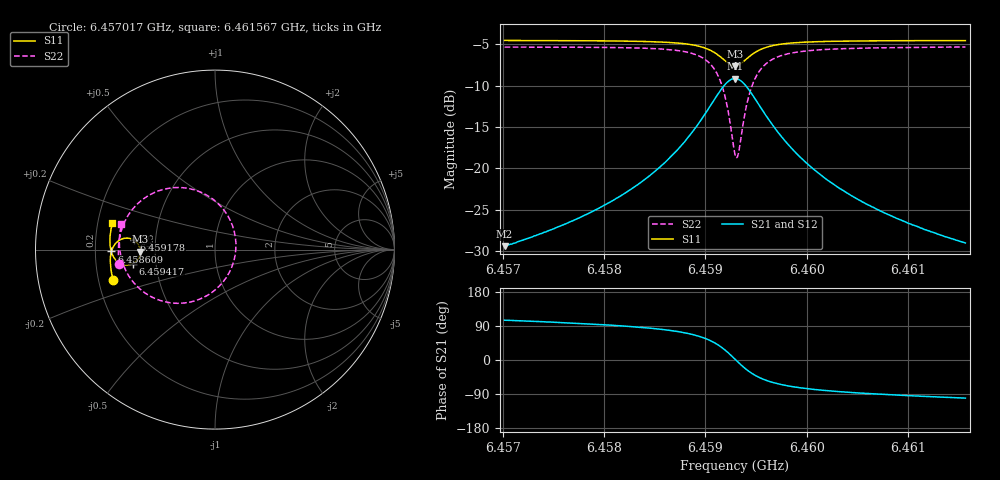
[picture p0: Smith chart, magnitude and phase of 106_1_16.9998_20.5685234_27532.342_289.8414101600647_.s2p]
#  HZ  S  RI  R  50.00
! Rohde & Schwarz Vector Network Analyzer
! Rohde-Schwarz,ZNB20-2Port,1311601062101988,3.16
! Created: UTC 3/20/2024, 10:56:50 PM
! freq[Hz]  re:S11  im:S11  re:S21  im:S21  re:S12  im:S12  re:S22  im:S22
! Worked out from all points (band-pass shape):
!   401 points, 6.457017 GHz to 6.461567 GHz, reference 50 ohm
!   highest |S21| = -9.15 dB at 6.459292 GHz (marker M1); lowest = -29.4 dB at 6.457017 GHz (marker M2)
!   |S21| within 3 dB of the highest: 6.459064 GHz to 6.459519 GHz (455.1 kHz wide, 0.00705 % of centre)
!   lowest |S11| = -7.6 dB at 6.459292 GHz (marker M3), VSWR 2.42, Z = 20.6 - j0.548 ohm
!   |S11| at or under -10 dB: nowhere
!   |S22| runs from -18.7 to -5.3 dB; largest |S21 - S12| = 0.014
!   S11 on the Smith chart (normalised r, x): 6.457017 GHz: 0.26, -0.14; 6.458609 GHz: 0.27, -0.01; 6.459178 GHz: 0.38, +0.05; 6.459417 GHz: 0.37, -0.07; 6.461567 GHz: 0.26, +0.12
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6.4570167e9  -0.5668 -0.1705  -0.00876 0.0328  -0.00705 0.0327  -0.5336 -0.0809
6.4577789e9  -0.5806 -0.1037  -0.00551 0.0509  -0.003 0.0503  -0.5384 0.0091
6.4581771e9  -0.5835 -0.0637  8.74e-05 0.0691  0.00325 0.0678  -0.5305 0.0722
6.4585411e9  -0.5794 -0.02  0.0146 0.0997  0.0186 0.0969  -0.5038 0.1541
6.4586094e9  -0.5772 -0.0105  0.02 0.1081  0.0241 0.105  -0.4935 0.1742
6.4588028e9  -0.5644 0.0199  0.0469 0.1393  0.051 0.1344  -0.4431 0.2434
6.4589507e9  -0.5414 0.0462  0.0928 0.1702  0.0958 0.1633  -0.3585 0.3078
6.4590872e9  -0.4969 0.0638  0.1808 0.1864  0.1818 0.1792  -0.1977 0.3458
6.4591782e9  -0.4518 0.0531  0.2717 0.1546  0.272 0.1487  -0.03 0.2937
6.4592465e9  -0.4224 0.0206  0.3325 0.0817  0.3347 0.0764  0.0854 0.1622
6.459292e9  -0.4156 -0.011  0.3487 0.013  0.3525 0.00596  0.1167 0.0339
6.4593034e9  -0.4161 -0.0191  0.3484 -0.00502  0.3523 -0.0126  0.1159 0.000121
6.4593261e9  -0.4196 -0.0349  0.3425 -0.0399  0.3465 -0.0491  0.1043 -0.066
6.4593716e9  -0.4356 -0.0614  0.3134 -0.1003  0.3156 -0.1122  0.0453 -0.1796
6.4594171e9  -0.4579 -0.0779  0.2708 -0.1413  0.2699 -0.1547  -0.0409 -0.2541
6.4595081e9  -0.5017 -0.0848  0.1852 -0.1724  0.179 -0.1839  -0.2109 -0.2993
6.459656e9  -0.5461 -0.0643  0.0967 -0.1581  0.0882 -0.1643  -0.3791 -0.2487
6.4598153e9  -0.5678 -0.0367  0.0517 -0.1299  0.0441 -0.1326  -0.4595 -0.1761
6.4600542e9  -0.5807 -0.00124  0.0224 -0.098  0.0166 -0.0985  -0.5073 -0.0933
6.4604183e9  -0.5854 0.0421  0.00561 -0.0696  0.00172 -0.0692  -0.5292 -0.00991
6.4608164e9  -0.5836 0.0822  -0.00142 -0.0524  -0.00423 -0.0515  -0.5328 0.0539
6.4615673e9  -0.5719 0.1489  -0.00651 -0.0349  -0.0082 -0.0339  -0.5216 0.143
